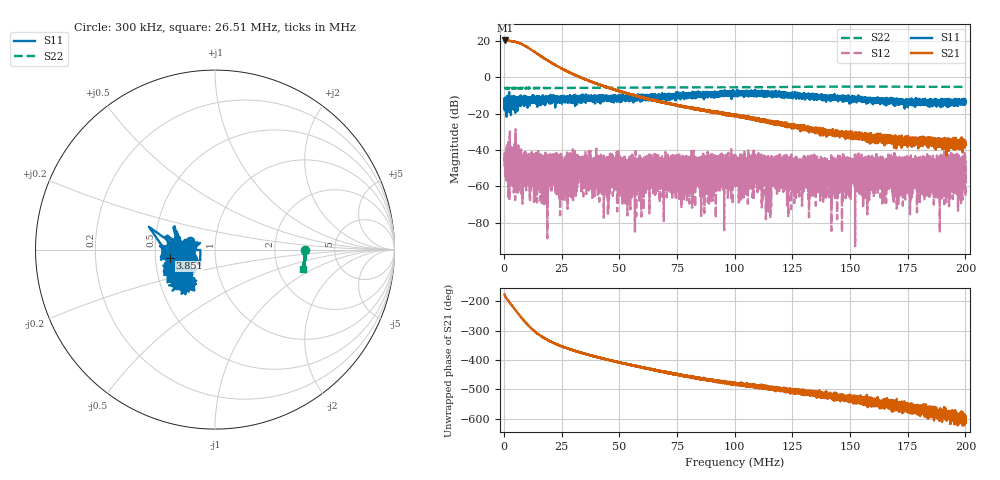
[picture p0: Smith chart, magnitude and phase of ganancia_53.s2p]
# Hz S DB R 50
! CMT, M5065, 19127446, 24.2.4/2
! Date: 11/8/2024 3:20:57 PM
! Data: Format (Calibration Info)
! Freq	S11:dB/Ang(F2)	S21:dB/Ang(F2)	S12:dB/Ang(F2)	S22:dB/Ang(F2)
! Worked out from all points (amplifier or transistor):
!   9000 points, 300 kHz to 200 MHz, reference 50 ohm
!   highest |S21| = 20.2 dB at 366.6 kHz (marker M1)
!   |S21| within 3 dB of that: start of sweep to 9.217 MHz
!   unconditionally stable (mu >= 1): start of sweep to end of sweep
!   at 33.59 MHz: K = 301.52, MAG = 1.3 dB, |S12| = -58.4 dB
!   at 100.2 MHz: K = 658.87, MAG = -19.4 dB, |S12| = -45.2 dB
!   at 200 MHz: K = 54360.57, MAG = -35.3 dB, |S12| = -67.1 dB
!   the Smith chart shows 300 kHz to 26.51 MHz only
!   S11 on the Smith chart (normalised r, x): 300 kHz: 0.75, +0.07; 3.851 MHz: 0.60, -0.06; 26.51 MHz: 0.71, -0.30
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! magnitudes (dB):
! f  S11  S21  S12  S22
! 300 kHz  -16.6  20.1  -44.5  -6.0
! 366.6 kHz  -18.3  20.2  -41.6  -6.0
! 3.851 MHz  -11.9  19.7  -42.6  -5.9
! 13.73 MHz  -12.5  13.6  -48.9  -6.0
! 21.74 MHz  -12.6  7.0  -47.6  -6.0
! 26.51 MHz  -12.3  3.8  -51.4  -6.0
! 33.59 MHz  -12.0  -0.3  -58.4  -5.9
! 53.34 MHz  -11.8  -9.0  -45.7  -5.7
! 61.73 MHz  -11.1  -11.9  -56.7  -5.7
! 66.87 MHz  -11.2  -13.4  -47.6  -5.6
! 100.2 MHz  -8.3  -21.5  -45.2  -5.6
! 104.8 MHz  -9.4  -21.6  -57.5  -5.5
! 106.8 MHz  -8.7  -23.0  -56.8  -5.5
! 114.4 MHz  -9.4  -24.2  -49.0  -5.5
! 116.9 MHz  -8.9  -25.9  -53.6  -5.5
! 122.3 MHz  -9.5  -26.1  -60.2  -5.4
! 133.4 MHz  -10.5  -29.4  -53.6  -5.3
! 166.7 MHz  -13.4  -32.7  -46.6  -5.2
! 180.8 MHz  -13.6  -34.3  -46.9  -5.3
! 195.6 MHz  -14.2  -35.9  -44.3  -5.4
! 199 MHz  -12.8  -36.7  -50.9  -5.4
! 200 MHz  -14.8  -36.9  -67.1  -5.4
